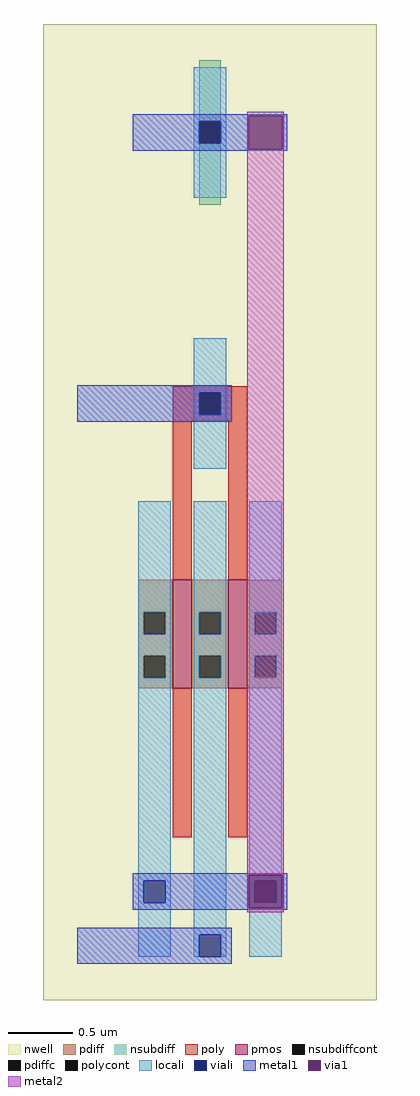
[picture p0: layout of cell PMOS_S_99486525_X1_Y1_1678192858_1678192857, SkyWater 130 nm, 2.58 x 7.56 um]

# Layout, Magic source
magic
tech sky130A
magscale 1 2
<< nwell >>
rect 0 0 516 1512
<< pmos >>
rect 200 483 230 651
rect 286 483 316 651
<< pdiff >>
rect 147 601 200 651
rect 147 567 155 601
rect 189 567 200 601
rect 147 533 200 567
rect 147 499 155 533
rect 189 499 200 533
rect 147 483 200 499
rect 230 601 286 651
rect 230 567 241 601
rect 275 567 286 601
rect 230 533 286 567
rect 230 499 241 533
rect 275 499 286 533
rect 230 483 286 499
rect 316 601 369 651
rect 316 567 327 601
rect 361 567 369 601
rect 316 533 369 567
rect 316 499 327 533
rect 361 499 369 533
rect 316 483 369 499
<< pdiffc >>
rect 155 567 189 601
rect 155 499 189 533
rect 241 567 275 601
rect 241 499 275 533
rect 327 567 361 601
rect 327 499 361 533
<< nsubdiff >>
rect 241 1361 275 1456
rect 241 1232 275 1327
<< nsubdiffcont >>
rect 241 1327 275 1361
<< poly >>
rect 200 941 316 951
rect 200 907 241 941
rect 275 907 316 941
rect 200 897 316 907
rect 200 651 230 897
rect 286 651 316 897
rect 200 252 230 483
rect 286 252 316 483
<< polycont >>
rect 241 907 275 941
<< locali >>
rect 233 1361 283 1445
rect 233 1327 241 1361
rect 275 1327 283 1361
rect 233 1243 283 1327
rect 233 941 283 1025
rect 233 907 241 941
rect 275 907 283 941
rect 233 823 283 907
rect 147 601 197 773
rect 147 567 155 601
rect 189 567 197 601
rect 147 533 197 567
rect 147 499 155 533
rect 189 499 197 533
rect 147 185 197 499
rect 147 151 155 185
rect 189 151 197 185
rect 147 67 197 151
rect 233 601 283 773
rect 233 567 241 601
rect 275 567 283 601
rect 233 533 283 567
rect 233 499 241 533
rect 275 499 283 533
rect 233 101 283 499
rect 233 67 241 101
rect 275 67 283 101
rect 319 601 369 773
rect 319 567 327 601
rect 361 567 369 601
rect 319 533 369 567
rect 319 499 327 533
rect 361 499 369 533
rect 319 185 369 499
rect 319 151 327 185
rect 361 151 369 185
rect 319 67 369 151
<< viali >>
rect 241 1327 275 1361
rect 241 907 275 941
rect 155 151 189 185
rect 241 67 275 101
rect 327 151 361 185
<< metal1 >>
rect 138 1370 378 1372
rect 138 1361 318 1370
rect 138 1327 241 1361
rect 275 1327 318 1361
rect 138 1318 318 1327
rect 370 1318 378 1370
rect 138 1316 378 1318
rect 52 941 292 952
rect 52 907 241 941
rect 275 907 292 941
rect 52 896 292 907
rect 138 194 378 196
rect 138 185 318 194
rect 138 151 155 185
rect 189 151 318 185
rect 138 142 318 151
rect 370 142 378 194
rect 138 140 378 142
rect 52 101 292 112
rect 52 67 241 101
rect 275 67 292 101
rect 52 56 292 67
<< via1 >>
rect 318 1318 370 1370
rect 318 185 370 194
rect 318 151 327 185
rect 327 151 361 185
rect 361 151 370 185
rect 318 142 370 151
<< metal2 >>
rect 316 1370 372 1376
rect 316 1318 318 1370
rect 370 1318 372 1370
rect 316 194 372 1318
rect 316 142 318 194
rect 370 142 372 194
rect 316 136 372 142
<< end >>
